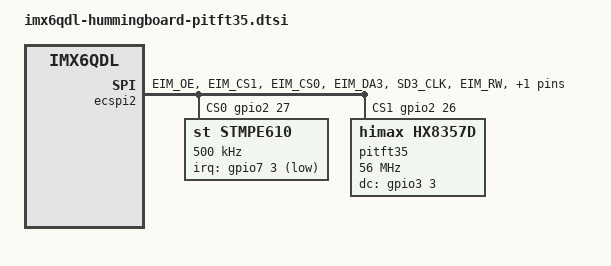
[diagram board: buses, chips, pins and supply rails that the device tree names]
&iomuxc {
	ecspi2 {
		pinctrl_ecspi2_cs_1: ecspi2_cs_grp-1 {
			fsl,pins = <
				MX6QDL_PAD_EIM_RW__GPIO2_IO26  0x100b1
				MX6QDL_PAD_EIM_LBA__GPIO2_IO27 0x100b1
			>;
		};

		pinctrl_ecspi2_1: ecspi2grp-1 {
			fsl,pins = <
				MX6QDL_PAD_EIM_OE__ECSPI2_MISO  0x100b1
				MX6QDL_PAD_EIM_CS1__ECSPI2_MOSI 0x100b1
				MX6QDL_PAD_EIM_CS0__ECSPI2_SCLK 0x100b1
				MX6QDL_PAD_EIM_DA3__GPIO3_IO03  0x100b1
				MX6QDL_PAD_SD3_CLK__GPIO7_IO03  0x80000000
			>;
		};
	};
};

&ecspi2 {
	fsl,spi-num-chipselects = <2>;
	cs-gpios = <&gpio2 27 0>, <&gpio2 26 0>;
	pinctrl-names = "default";
	pinctrl-0 = <&pinctrl_ecspi2_1 &pinctrl_ecspi2_cs_1>;
	status = "okay";

	stmpe610@0 {
		compatible = "st,stmpe610";
		reg = <0>;
		status = "okay";

		spi-max-frequency = <500000>;
		interrupts = <1>;
		irq_over_gpio = <1>;
		irq_gpio = <&gpio7 3 1>;
		irq_trigger = <2>;

		stmpe_touchscreen {
			compatible = "st,stmpe-ts";
			st,sample-time = <4>;
			st,mod-12b = <1>;
			st,ref-sel = <0>;
			st,adc-freq = <2>;
			st,ave-ctrl = <3>;
			st,touch-det-delay = <4>;
			st,settling = <2>;
			st,fraction-z = <7>;
			st,i-drive = <0>;
			st,rotate = <270>;
		};
	};

	pitft35@1{
		compatible = "himax,hx8357d";
		reg = <1>;
		status = "okay";

		spi-max-frequency = <56000000>;
		rotate = <270>;
		bgr;
		buswidth = <8>;
		dc-gpios = <&gpio3 3 0>;
		debug = <0>;
	};
};

&flexcan1 {
	status = "disabled";
};
